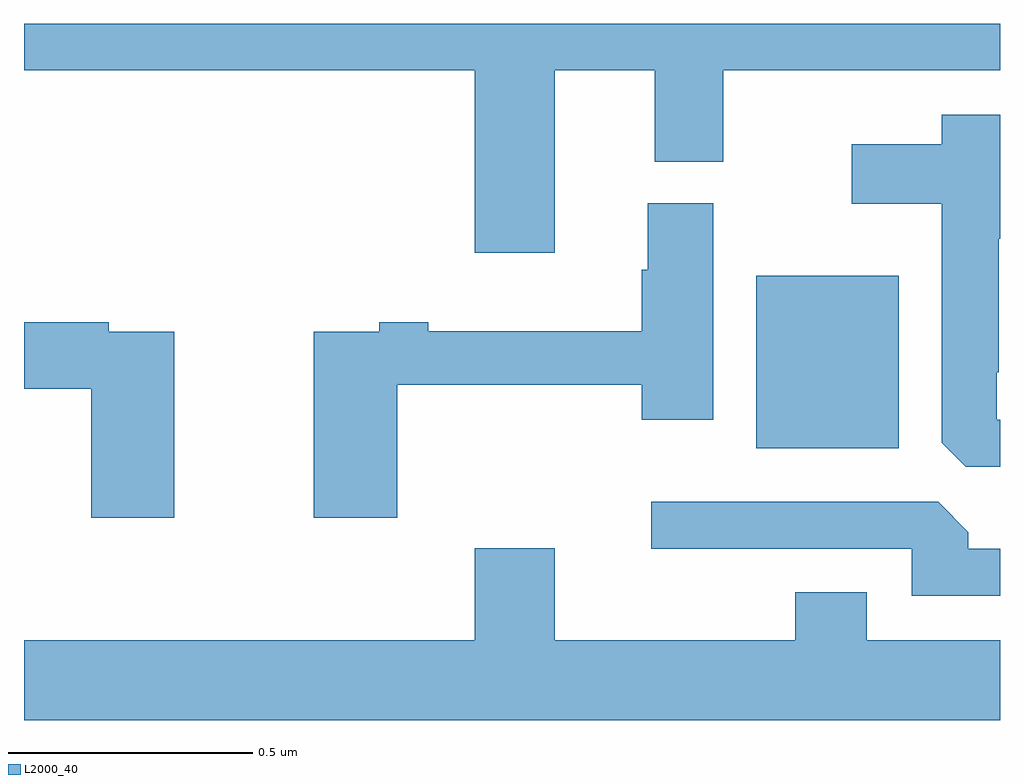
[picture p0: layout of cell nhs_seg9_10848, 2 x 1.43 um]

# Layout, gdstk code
import gdstk
lib = gdstk.Library(unit=1e-6, precision=1e-09)
def R(c, l, rs):  # rectangles x0, y0, x1, y1
    for r in rs: c.add(gdstk.rectangle(r[:2], r[2:], *l))
def P(c, l, *ps):  # polygons
    for p in ps: c.add(gdstk.Polygon(p, *l))
L2000_40 = (2000, 40)

nhs_seg9_10848 = lib.new_cell('nhs_seg9_10848')
R(nhs_seg9_10848, L2000_40, [(249.5,1211.63,249.793,1211.983)])
P(nhs_seg9_10848, L2000_40, [(249.088,1212.404),(249.293,1212.404),(249.293,1212.217),(249.433,1212.217),(249.433,1212.404),(250,1212.404),(250,1212.5),(248,1212.5),(248,1212.404),(248.924,1212.404),(248.924,1212.03),(249.088,1212.03)],
  [(250,1211.688),(249.993,1211.688),(249.993,1211.785),(249.997,1211.785),(249.997,1212.059),(250,1212.059),(250,1212.313),(249.881,1212.313),(249.881,1212.253),(249.696,1212.253),(249.696,1212.131),(249.881,1212.131),(249.881,1211.641),(249.93,1211.592),(250,1211.592)],
  [(248.765,1211.76),(249.266,1211.76),(249.266,1211.688),(249.412,1211.688),(249.412,1212.132),(249.278,1212.132),(249.278,1211.996),(249.266,1211.996),(249.266,1211.869),(248.828,1211.869),(248.828,1211.888),(248.728,1211.888),(248.728,1211.868),(248.594,1211.868),(248.594,1211.487),(248.765,1211.487)],
  [(248.308,1211.868),(248.174,1211.868),(248.174,1211.888),(248,1211.888),(248,1211.752),(248.138,1211.752),(248.138,1211.487),(248.308,1211.487)],
  [(250,1211.424),(249.935,1211.424),(249.935,1211.458),(249.873,1211.52),(249.285,1211.52),(249.285,1211.424),(249.819,1211.424),(249.819,1211.328),(250,1211.328)],
  [(250,1211.236),(249.727,1211.236),(249.727,1211.335),(249.58,1211.335),(249.58,1211.236),(249.088,1211.236),(249.088,1211.425),(248.924,1211.425),(248.924,1211.236),(248,1211.236),(248,1211.072),(250,1211.072)])

lib.write_gds('nhs_seg9_10848.gds')
